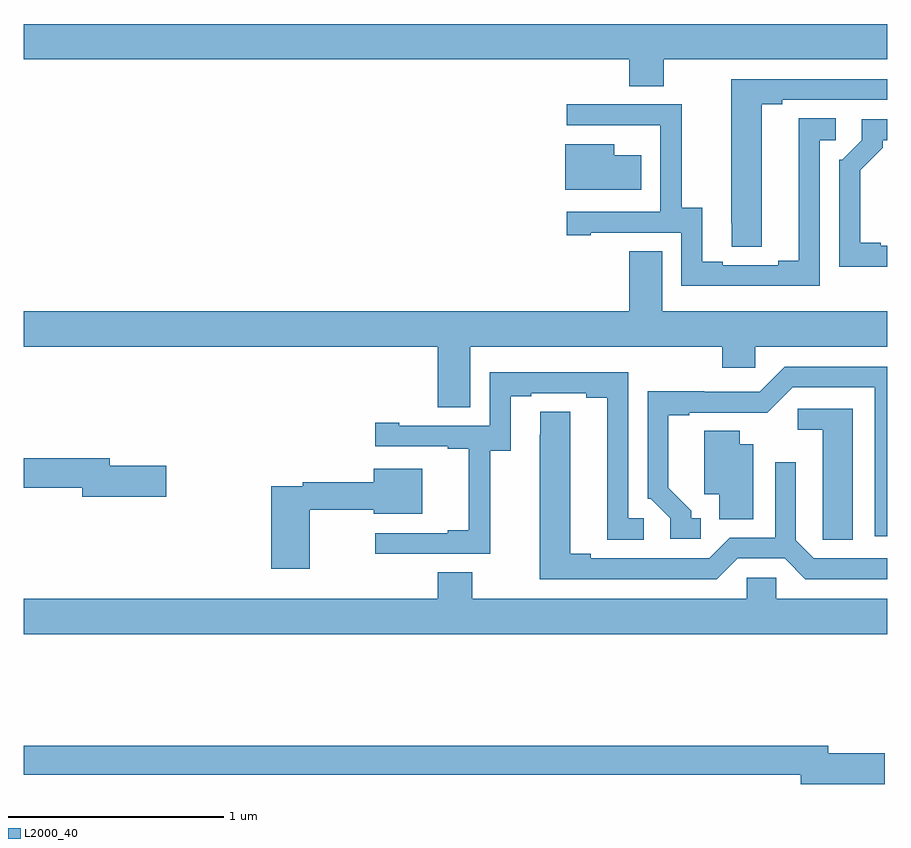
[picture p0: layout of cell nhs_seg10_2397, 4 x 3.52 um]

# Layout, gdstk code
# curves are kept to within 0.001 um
import gdstk
lib = gdstk.Library(unit=1e-6, precision=1e-09)
def P(c, l, *ps):  # polygons
    for p in ps: c.add(gdstk.Polygon(p, *l))
L2000_40 = (2000, 40)

nhs_seg10_2397 = lib.new_cell('nhs_seg10_2397')
P(nhs_seg10_2397, L2000_40, [(241.965,1304.312),(243,1304.312),(243,1304.476),(239,1304.476),(239,1304.312),(241.805,1304.312),(241.805,1304.188),(241.965,1304.188)],
  [(242.419,1304.104),(242.515,1304.104),(242.515,1304.124),(243,1304.124),(243,1304.22),(242.279,1304.22),(242.279,1303.552),(242.28,1303.552),(242.28,1303.444),(242.419,1303.444)],
  [(242.688,1303.938),(242.761,1303.938),(242.761,1304.039),(242.591,1304.039),(242.591,1303.379),(242.495,1303.379),(242.495,1303.359),(242.239,1303.359),(242.239,1303.374),(242.143,1303.374),(242.143,1303.625),(242.049,1303.625),(242.049,1304.103),(241.515,1304.103),(241.515,1304.007),(241.949,1304.007),(241.949,1304.006),(241.95,1304.006),(241.95,1303.605),(241.515,1303.605),(241.515,1303.497),(241.627,1303.497),(241.627,1303.509),(242.046,1303.509),(242.046,1303.263),(242.688,1303.263)],
  [(243,1303.449),(242.971,1303.449),(242.971,1303.462),(242.875,1303.462),(242.875,1303.798),(242.98,1303.903),(242.98,1303.938),(243,1303.938),(243,1304.034),(242.883,1304.034),(242.883,1303.938),(242.793,1303.848),(242.778,1303.848),(242.778,1303.352),(243,1303.352)],
  [(241.861,1303.867),(241.735,1303.867),(241.735,1303.918),(241.508,1303.918),(241.508,1303.709),(241.861,1303.709)],
  [(239,1302.98),(240.917,1302.98),(240.917,1302.7),(241.069,1302.7),(241.069,1302.98),(242.237,1302.98),(242.237,1302.882),(242.388,1302.882),(242.388,1302.98),(243,1302.98),(243,1303.144),(241.957,1303.144),(241.957,1303.424),(241.805,1303.424),(241.805,1303.144),(239,1303.144)],
  [(242.137,1302.186),(242.092,1302.186),(242.092,1302.221),(241.987,1302.326),(241.987,1302.663),(242.083,1302.663),(242.083,1302.675),(242.444,1302.674),(242.562,1302.792),(242.942,1302.792),(242.942,1302.102),(243,1302.102),(243,1302.888),(242.526,1302.888),(242.409,1302.771),(242.153,1302.771),(242.153,1302.773),(241.89,1302.773),(241.89,1302.276),(241.905,1302.276),(241.995,1302.186),(241.995,1302.09),(242.137,1302.09)],
  [(241.161,1302.499),(241.255,1302.499),(241.255,1302.75),(241.351,1302.75),(241.351,1302.765),(241.607,1302.765),(241.607,1302.745),(241.703,1302.745),(241.703,1302.085),(241.873,1302.085),(241.873,1302.186),(241.8,1302.186),(241.8,1302.861),(241.158,1302.861),(241.158,1302.615),(240.739,1302.615),(240.739,1302.628),(240.627,1302.628),(240.627,1302.519),(240.965,1302.519),(240.965,1302.507),(241.061,1302.507),(241.061,1302.13),(240.965,1302.13),(240.965,1302.117),(240.627,1302.117),(240.627,1302.021),(241.161,1302.021)],
  [(242.842,1302.693),(242.586,1302.693),(242.586,1302.596),(242.702,1302.596),(242.702,1302.193),(242.703,1302.193),(242.703,1302.085),(242.842,1302.085)],
  [(242.307,1302),(242.525,1302),(242.621,1301.904),(243,1301.904),(243,1302),(242.661,1302),(242.577,1302.084),(242.577,1302.445),(242.481,1302.445),(242.481,1302.096),(242.271,1302.096),(242.175,1302),(241.627,1302),(241.627,1302.02),(241.531,1302.02),(241.531,1302.68),(241.392,1302.68),(241.391,1301.904),(242.211,1301.904)],
  [(242.38,1302.529),(242.317,1302.529),(242.317,1302.59),(242.153,1302.59),(242.153,1302.296),(242.222,1302.296),(242.222,1302.181),(242.38,1302.181)],
  [(239.659,1302.428),(239.398,1302.428),(239.398,1302.464),(239,1302.464),(239,1302.328),(239.27,1302.328),(239.27,1302.286),(239.659,1302.286)],
  [(240.324,1302.225),(240.62,1302.225),(240.62,1302.206),(240.847,1302.206),(240.847,1302.415),(240.62,1302.415),(240.62,1302.353),(240.292,1302.353),(240.292,1302.333),(240.146,1302.333),(240.146,1301.952),(240.324,1301.952)],
  [(243,1301.812),(242.487,1301.812),(242.487,1301.91),(242.349,1301.91),(242.349,1301.812),(241.077,1301.812),(241.077,1301.936),(240.917,1301.936),(240.917,1301.812),(239,1301.812),(239,1301.648),(243,1301.648)],
  [(242.989,1301.096),(242.728,1301.096),(242.728,1301.132),(239,1301.132),(239,1300.996),(242.6,1300.996),(242.6,1300.954),(242.989,1300.954)])

lib.write_gds('nhs_seg10_2397.gds')
